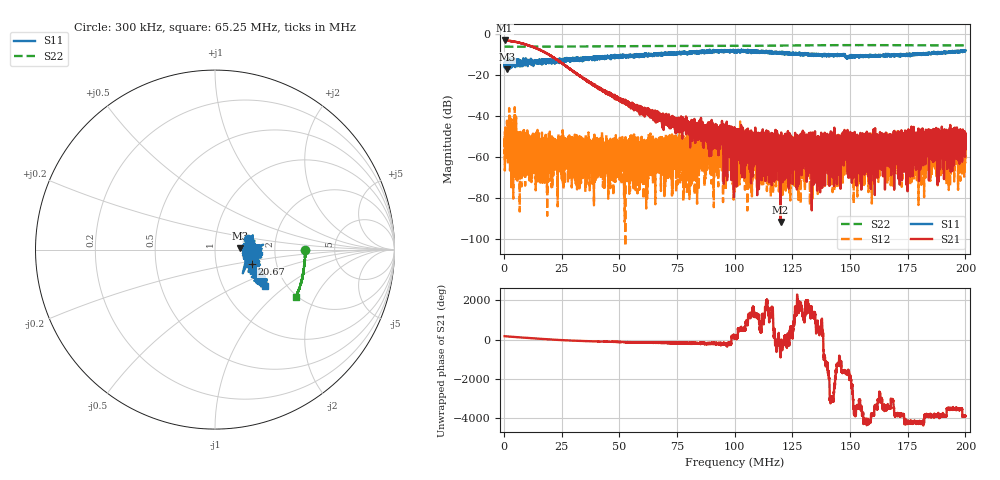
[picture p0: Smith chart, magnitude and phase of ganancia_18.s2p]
# Hz S DB R 50
! CMT, M5065, 19127446, 24.2.4/2
! Date: 11/8/2024 6:34:56 PM
! Data: Format (Calibration Info)
! Freq	S11:dB/Ang(F2)	S21:dB/Ang(F2)	S12:dB/Ang(F2)	S22:dB/Ang(F2)
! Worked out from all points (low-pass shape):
!   9000 points, 300 kHz to 200 MHz, reference 50 ohm
!   highest |S21| = -2.93 dB at 300 kHz (marker M1); lowest = -91.6 dB at 119.9 MHz (marker M2)
!   |S21| within 3 dB of the highest: start of sweep to 12.03 MHz; 12.05 MHz to 12.14 MHz (89.38 kHz wide, 0.739 % of centre)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
!   lowest |S11| = -17.0 dB at 1.343 MHz (marker M3), VSWR 1.33, Z = 66.4 + j1.1 ohm
!   |S11| at or under -10 dB: start of sweep to 48.01 MHz; 147.8 MHz to 150.7 MHz (2.826 MHz wide, 1.89 % of centre); 150.7 MHz to 158.5 MHz (7.827 MHz wide, 5.06 % of centre)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
!   |S22| runs from -6.0 to -5.2 dB; largest |S21 - S12| = 0.72
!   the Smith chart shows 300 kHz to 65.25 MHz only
!   S11 on the Smith chart (normalised r, x): 300 kHz: 1.43, +0.18; 20.67 MHz: 1.49, -0.25; 65.25 MHz: 1.58, -0.72
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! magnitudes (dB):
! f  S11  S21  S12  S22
! 300 kHz  -14.3  -2.9  -49.7  -6.0
! 1.343 MHz  -17.0  -3.1  -42.1  -6.0
! 10.62 MHz  -14.0  -5.3  -49.1  -6.0
! 13.46 MHz  -13.2  -6.6  -59.0  -6.0
! 18.59 MHz  -12.2  -9.3  -62.4  -5.9
! 20.67 MHz  -13.1  -10.7  -54.6  -5.9
! 33.59 MHz  -11.8  -20.8  -55.0  -5.9
! 40.89 MHz  -11.5  -26.1  -50.9  -5.8
! 57.31 MHz  -10.6  -35.4  -72.4  -5.7
! 65.25 MHz  -9.2  -38.4  -53.0  -5.7
! 66.87 MHz  -9.3  -40.7  -51.6  -5.6
! 100.2 MHz  -7.9  -51.1  -64.7  -5.6
! 119.9 MHz  -9.1  -91.6  -59.6  -5.4
! 133.4 MHz  -9.8  -50.3  -54.5  -5.3
! 139.7 MHz  -10.6  -60.6  -55.5  -5.2
! 141.7 MHz  -10.0  -47.3  -65.7  -5.2
! 145.1 MHz  -10.3  -50.6  -57.5  -5.2
! 148 MHz  -10.9  -49.4  -57.9  -5.2
! 150.8 MHz  -10.5  -50.6  -57.6  -5.2
! 166.7 MHz  -10.1  -54.6  -67.0  -5.2
! 197.7 MHz  -8.1  -49.7  -51.9  -5.4
! 200 MHz  -7.9  -55.6  -49.7  -5.4
